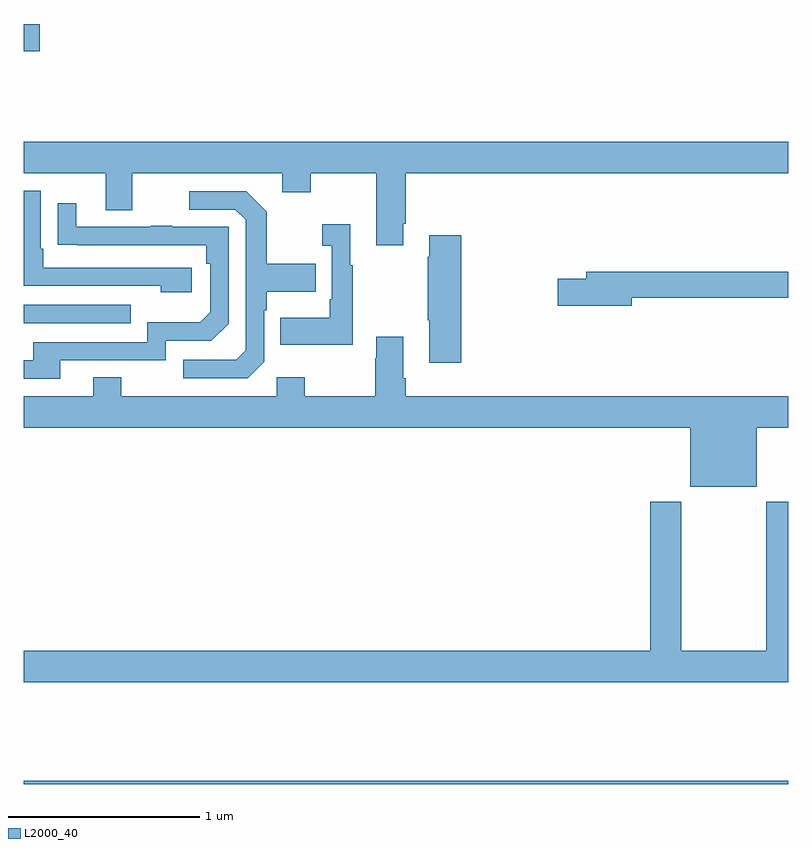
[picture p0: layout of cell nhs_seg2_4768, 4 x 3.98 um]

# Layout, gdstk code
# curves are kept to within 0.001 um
import gdstk
lib = gdstk.Library(unit=1e-6, precision=1e-09)
def R(c, l, rs):  # rectangles x0, y0, x1, y1
    for r in rs: c.add(gdstk.rectangle(r[:2], r[2:], *l))
def P(c, l, *ps):  # polygons
    for p in ps: c.add(gdstk.Polygon(p, *l))
L2000_40 = (2000, 40)

nhs_seg2_4768 = lib.new_cell('nhs_seg2_4768')
R(nhs_seg2_4768, L2000_40, [(371,617.8,375,617.816), (371,620.211,371.561,620.307), (371,621.634,371.083,621.776)])
P(nhs_seg2_4768, L2000_40, [(372.985,620.731),(372.998,620.731),(372.998,620.996),(375,620.996),(375,621.16),(371,621.16),(371,620.996),(371.429,620.996),(371.429,620.802),(371.569,620.802),(371.569,620.996),(372.353,620.996),(372.353,620.897),(372.501,620.897),(372.501,620.996),(372.845,620.996),(372.845,620.619),(372.985,620.619)],
  [(371.878,620.502),(371.101,620.502),(371.101,620.599),(371.088,620.599),(371.088,620.904),(371,620.904),(371,620.406),(371.717,620.406),(371.717,620.372),(371.878,620.372)],
  [(372.258,620.01),(372.258,620.279),(372.271,620.279),(372.271,620.375),(372.527,620.375),(372.527,620.523),(372.271,620.523),(372.271,620.795),(372.165,620.901),(371.865,620.901),(371.865,620.805),(372.108,620.805),(372.162,620.751),(372.162,620.07),(372.111,620.019),(371.835,620.019),(371.835,619.923),(372.171,619.923)],
  [(371.191,620.016),(371.742,620.016),(371.742,620.118),(371.982,620.118),(372.072,620.208),(372.072,620.715),(371.777,620.715),(371.777,620.72),(371.665,620.72),(371.665,620.715),(371.275,620.715),(371.275,620.839),(371.179,620.839),(371.179,620.62),(371.956,620.619),(371.956,620.522),(371.976,620.522),(371.976,620.268),(371.923,620.215),(371.646,620.215),(371.646,620.112),(371.051,620.112),(371.051,620.016),(371,620.016),(371,619.92),(371.191,619.92)],
  [(372.721,620.515),(372.709,620.515),(372.709,620.728),(372.561,620.728),(372.561,620.615),(372.612,620.615),(372.612,620.335),(372.6,620.335),(372.6,620.239),(372.343,620.239),(372.343,620.099),(372.721,620.099)],
  [(373.289,620.671),(373.121,620.671),(373.121,620.558),(373.114,620.558),(373.114,620.227),(373.121,620.227),(373.121,620.004),(373.289,620.004)],
  [(374.182,620.344),(375,620.344),(375,620.48),(373.943,620.48),(373.943,620.444),(373.794,620.444),(373.794,620.302),(374.182,620.302)],
  [(372.998,619.924),(372.985,619.924),(372.985,620.14),(372.845,620.14),(372.845,620.027),(372.838,620.027),(372.838,619.828),(372.471,619.828),(372.471,619.927),(372.324,619.927),(372.324,619.828),(371.511,619.828),(371.511,619.927),(371.363,619.927),(371.363,619.828),(371,619.828),(371,619.664),(374.486,619.664),(374.486,619.355),(374.836,619.355),(374.836,619.664),(375,619.664),(375,619.828),(372.998,619.828)],
  [(375,619.276),(374.884,619.276),(374.884,618.496),(374.439,618.496),(374.439,619.276),(374.279,619.276),(374.279,618.496),(371,618.496),(371,618.332),(375,618.332)])

lib.write_gds('nhs_seg2_4768.gds')
